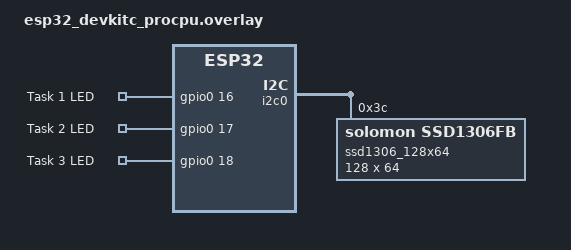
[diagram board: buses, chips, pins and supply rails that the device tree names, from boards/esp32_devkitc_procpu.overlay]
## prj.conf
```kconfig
CONFIG_GPIO=y
CONFIG_BOOTLOADER_MCUBOOT=y

CONFIG_DISPLAY=y
CONFIG_CHARACTER_FRAMEBUFFER=y
CONFIG_CBPRINTF_FP_SUPPORT=y

# Activate logging to get error/warnings for SSD1306 initialization
#CONFIG_LOG=y
#CONFIG_LOG_DEFAULT_LEVEL=3

# Task Configuration
CONFIG_NUM_TASKS=3

CONFIG_TASK1_PRIORITY=1 
CONFIG_TASK1_PERIOD_MS=4000 
CONFIG_TASK1_EXECUTION_TIME_MS=2000 
CONFIG_TASK1_RELEASE_MS=0


CONFIG_TASK2_PRIORITY=2 
CONFIG_TASK2_PERIOD_MS=7000 
CONFIG_TASK2_EXECUTION_TIME_MS=2000 
CONFIG_TASK2_RELEASE_MS=0 

    
CONFIG_TASK3_PRIORITY=3 
CONFIG_TASK3_PERIOD_MS=8000 
CONFIG_TASK3_EXECUTION_TIME_MS=1000 
CONFIG_TASK3_RELEASE_MS=0

# Test Case 1
# CONFIG_TASK1_PRIORITY=1
# CONFIG_TASK1_PERIOD_MS=4000
# CONFIG_TASK1_EXECUTION_TIME_MS=500
# CONFIG_TASK1_RELEASE_MS=0

# CONFIG_TASK2_PRIORITY=2
# CONFIG_TASK2_PERIOD_MS=7000
# CONFIG_TASK2_EXECUTION_TIME_MS=1000
# CONFIG_TASK2_RELEASE_MS=0

# CONFIG_TASK3_PRIORITY=3
# CONFIG_TASK3_PERIOD_MS=8000
# CONFIG_TASK3_EXECUTION_TIME_MS=5500
# CONFIG_TASK3_RELEASE_MS=0

# Results for Test case 1: 
# Task 1 - Utl 0.125 WCS 0 TDA 0
# Task 2 - Utl 0.268 WCS 0 TDA 0
# Task 3 - Utl 0.955 WCS 8500 TDA 8500


# Test Case 2
# CONFIG_TASK1_PRIORITY=1
# CONFIG_TASK1_PERIOD_MS=3000
# CONFIG_TASK1_EXECUTION_TIME_MS=500
# CONFIG_TASK1_RELEASE_MS=0

# CONFIG_TASK2_PRIORITY=2
# CONFIG_TASK2_PERIOD_MS=5000
# CONFIG_TASK2_EXECUTION_TIME_MS=1500
# CONFIG_TASK2_RELEASE_MS=0

# CONFIG_TASK3_PRIORITY=3
# CONFIG_TASK3_PERIOD_MS=9000
# CONFIG_TASK3_EXECUTION_TIME_MS=3000
# CONFIG_TASK3_RELEASE_MS=0

# Results for Test case 2: 
# Task 1 - Utl 0.167 WCS 0 TDA 0
# Task 2 - Utl 0.467 WCS 0 TDA 0
# Task 3 - Utl 0.800 WCS 7500 TDA 8500
```

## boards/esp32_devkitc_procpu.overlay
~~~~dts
/ {
    custom_gpio {
        compatible = "gpio-keys";

        task1_led: task1_led {
            gpios = <&gpio0 16 (GPIO_PULL_DOWN | GPIO_ACTIVE_HIGH)>;
            label = "Task 1 LED";
        };
        task2_led: task2_led {
            gpios = <&gpio0 17 (GPIO_PULL_DOWN | GPIO_ACTIVE_HIGH)>;
            label = "Task 2 LED";
        };
        task3_led: task3_led {
            gpios = <&gpio0 18 (GPIO_PULL_DOWN | GPIO_ACTIVE_HIGH)>;
            label = "Task 3 LED";
        };
    };

    chosen {
        task1_led = &task1_led;
        task2_led = &task2_led;
        task3_led = &task3_led;
    };
};


/* TODO: Configure I2C for the SSD1306 display. 
*  For reference, you may want to have a look at
*  (1) zephyr/boards/espressif/esp32_devkitc/esp32_devkitc_procpu.dts
*  (2) zephyr/boards/shields/ssd1306/ssd1306_128x64.overlay
*  Hint: The ESP32 device tree does not provide a arduino_i2c definition as 
*  assumed by (2), thus replace it with a suitable device tree entry from (1).
*
*  Afterwards, make sure that the reference in display.c is correctly resolved
*  ```
*  #define SSD1306 DT_CHOSEN(display)
*  static const struct device *dev = DEVICE_DT_GET(SSD1306);
*  ```
*/

 / {
    chosen {
        /* This makes DT_CHOSEN(display) in display.c resolve correctly */
        display = &ssd1306_128x64;
    };
};

/* I2C0 on ESP32 DevKitC uses:
 *   SCL = GPIO22  (D22)
 *   SDA = GPIO21  (D21)
 */
&i2c0 {
    status = "okay";

    /* SSD1306 with I2C address 0x3C */
    ssd1306_128x64: ssd1306@3c {
        compatible = "solomon,ssd1306fb";
        reg = <0x3c>;

        width = <128>;
        height = <64>;

        segment-offset = <0>;
        page-offset = <0>;
        display-offset = <0>;
        multiplex-ratio = <63>;

        segment-remap;
        com-invdir;
        prechargep = <0x22>;
    };
};
~~~~

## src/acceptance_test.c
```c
#include <math.h>
#include <stdio.h>
#include "acceptance_test.h"

void utilization_bound_test(struct task_params **params, unsigned int task_id,
			    AcceptanceTestResult results[])
{
	double utilization = 0;
	bool accepted = false;
	
	/*--------------------------------------------------------------------
	 * TODO 1: Implement the Utilization Bound Test from the lecture
	 ---------------------------------------------------------------------*/

	 // n is the number of tasks in the accepted set of tasks
	 int n = 0; 

	 /*--------------------------------------------------------------------
	 * While loop to calculate utilization:
	 * If utilization > 1 ----> Task is impossible so "Rejected".
	 * If utilization <= U_RM ----> Task scheduling is gurantedd and "Accepted".
	 * Else ----> Task scheduling isn't guranteed so further testing is needed (WCS).
	 ---------------------------------------------------------------------*/

	for (unsigned int k = 0; k <= task_id; k++) {
		// This condition  k == task_id is to make sure that the task itself is included for testing intitally
		if (k == task_id || results[k].accepted) {
			double e_k = params[k]->execution_time_ms;
			double p_k = params[k]->period_ms;
			utilization += e_k / p_k;
			n++;
		}
	}
	
	double U_RM = n * (pow(2.0, 1.0 / n) - 1.0);

	if (utilization > 1.0) {
		accepted = false;       
	} else if (utilization <= U_RM) {
		accepted = true;       
	} else {
		accepted = false;     
	}
	results[task_id].accepted = accepted;
	results[task_id].info.util = utilization;

	printf("Utiliization Test (Task %d): %f (%s)\n", task_id + 1, utilization,
	       accepted ? "accepted" : "rejected");
}

void worst_case_simulation(struct task_params **params, unsigned int task_id,
			   AcceptanceTestResult results[])
{
	int32_t completion_time = 0;
	bool accepted = false;
	
	/*--------------------------------------------------------------------
	 * TODO 2: Implement the Worst Case Simulation from the lecture

	 * WCS is a sufficient test:
	 *   - if it accepts ----> definitely schedulable.
	 *   - if it rejects ----> not final, TDA must still be checked.
	 ---------------------------------------------------------------------*/
	completion_time += params[task_id]->execution_time_ms; // C_WCS is initially e_i
	
	int32_t p_i = params[task_id]->period_ms;

	for (unsigned int k = 0; k < task_id; k++) {

		// Skip rejected tasks
		if (!results[k].accepted) {
			continue;
		}

		int32_t p_k = params[k]->period_ms;
		int32_t e_k = params[k]->execution_time_ms;
		//Calculate ceil([p_i/k_k]) which is how many jobs of each higher priority task T_k can delay T_i in the worst case.
		int32_t jobs = (p_i + p_k - 1) / p_k;
		completion_time += jobs * e_k;     //C_WCS = e_i + (p_i/p_k)*e_k
	}

		// For this assignment the deadline is equal to the period, so if C_WCS <= d_i, then the task set is schedulable.
		if (completion_time <= p_i) {
		accepted = true;
	

	}
	// ___________________________ END _____________________________________
	results[task_id].accepted = accepted;
	results[task_id].info.wcs_result = completion_time;

	printf("Worst Case Simulation (Task %d): %d ms (%s)\n", task_id + 1, completion_time,
	       accepted ? "accepted" : "rejected");
}

void time_demand_analysis(struct task_params **params, unsigned int task_id,
			  AcceptanceTestResult results[])
{
	int32_t t_next = 0;
	bool accepted = false;

	/*--------------------------------------------------------------------
	 * TODO 3: Implement the Time Demand Analysis from the lecture
	 ---------------------------------------------------------------------*/
	int32_t deadline = params[task_id]->period_ms;
	int32_t e_i = params[task_id]->execution_time_ms;

	int32_t t = 0;
	for (unsigned int k = 0; k <= task_id; k++) {
		if (k == task_id || results[k].accepted) {
			t += params[k]->execution_time_ms;
		}
	}

	while (1) {
		int32_t w = e_i;

		for (unsigned int k = 0; k < task_id; k++) {
			if (!results[k].accepted) {
				continue;
			}

			int32_t p_k = params[k]->period_ms;
			int32_t e_k = params[k]->execution_time_ms;

			int32_t jobs = (t + p_k - 1) / p_k;
			w += jobs * e_k;
		}

		t_next = w;

		if (t_next == t) {
			accepted = (t_next <= deadline);
			break;
		}

		if (t_next > deadline) {
			accepted = false;
			break;
		}

		t = t_next;
	}

	results[task_id].accepted = accepted;
	results[task_id].info.tda_result = t_next;

	printf("Time Demand Analysis (Task %d): %d ms (%s)\n", task_id + 1, t_next,
	       accepted ? "accepted" : "rejected");
}

/* Determine if params[task_id] can be scheduled.
 * - params: array of all task parameters (e.g., needed to perform TDA)
 * - task_id: index such that params[task_id] is the task under consideration
 * - results: output parameter yielding the acceptance test result */
void acceptance_test(struct task_params **params, unsigned int task_id,
		     AcceptanceTestResult results[])
{
	/*--------------------------------------------------------------------
	 * TODO 4: Call the above acceptance tests in a suitable order.
	 *  In particular, recall which of these tests are necessary,
	 *  sufficient, or both.
	 *  Ensure that the final value of result->accepted is true if and
	 *  only if the task encoded by params[task_id] can be scheduled.
	 ---------------------------------------------------------------------*/

	 // The tests are organised from least complex to most complex

	 /*Utilization Bound Test*/

	utilization_bound_test(params, task_id, results);

	double utilization = results[task_id].info.util;

	/*Case 1: utilization > 1 ; this is impossible so rejected with no further testing needed*/
	if (utilization > 1.0) {
		return;
	}

	/* Case 2: utilization <= U_RM ; Task is definitely accepted and so no further testing needs to be done*/
	if (results[task_id].accepted) {
		return;
	}

	/* Case 3: U_RM < utilization <= 1; Test is inconclusive so we have to perform the other tests */



	/* Worst Case Simulation*/

	worst_case_simulation(params, task_id, results);

	/* Case 1: WCS accepts the task ;  Task is definitely accepted and so no further testing needs to be done */
	if (results[task_id].accepted) {
		return;
	}

	/* Case 2: WCS rejects the task ; WCS rejection is NOT final so we must do futher testing (TDA) */

	/*Time Demand Analysis (Final conlusive test) */
	time_demand_analysis(params, task_id, results);


}
```

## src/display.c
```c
#include "display.h"
#include <zephyr/device.h>
#include <zephyr/drivers/display.h>
#include <zephyr/kernel.h>

#include <zephyr/display/cfb.h>
#include <zephyr/drivers/display.h>

#define LOG_LEVEL CONFIG_LOG_DEFAULT_LEVEL
#include <zephyr/logging/log.h>
LOG_MODULE_REGISTER(display);

#define SSD1306 DT_CHOSEN(display)
static const struct device *dev = DEVICE_DT_GET(SSD1306);

#define BUFFER_SIZE 10
static char buf[BUFFER_SIZE];

int ssd1306_setup(void)
{
	if (!device_is_ready(dev)) {
		LOG_ERR("Display device not ready");
		return -EIO;
	}

	if (display_set_pixel_format(dev, PIXEL_FORMAT_MONO01)) {
		LOG_ERR("Failed to set required pixel format");
		return -EIO;
	}
	if (display_blanking_off(dev)) {
		LOG_ERR("Failed to turn off display blanking");
		return -EIO;
	}
	if (cfb_framebuffer_init(dev)) {
		LOG_ERR("Failed to initialize character framebuffer");
		return -EIO;
	}
	cfb_framebuffer_invert(dev);
	return 0;
}
SYS_INIT(ssd1306_setup, APPLICATION, CONFIG_KERNEL_INIT_PRIORITY_DEVICE);

void ssd1306_print_task_info(struct task_params *params, struct task_info *info)
{
	// Clear the display first since values werelingering from previous screens
	cfb_framebuffer_clear(dev, false);
	snprintf(buf, sizeof(buf), "Task %d", params->task_id);
	cfb_print(dev, buf, 0, 0);
	snprintf(buf, sizeof(buf), "Utl %.3f", info->util);
	cfb_print(dev, buf, 0, 16);
	snprintf(buf, sizeof(buf), "WCS %d", info->wcs_result);
	cfb_print(dev, buf, 0, 32);
	snprintf(buf, sizeof(buf), "TDA %d", info->tda_result);
	cfb_print(dev, buf, 0, 46);

	cfb_framebuffer_finalize(dev);
}
```
